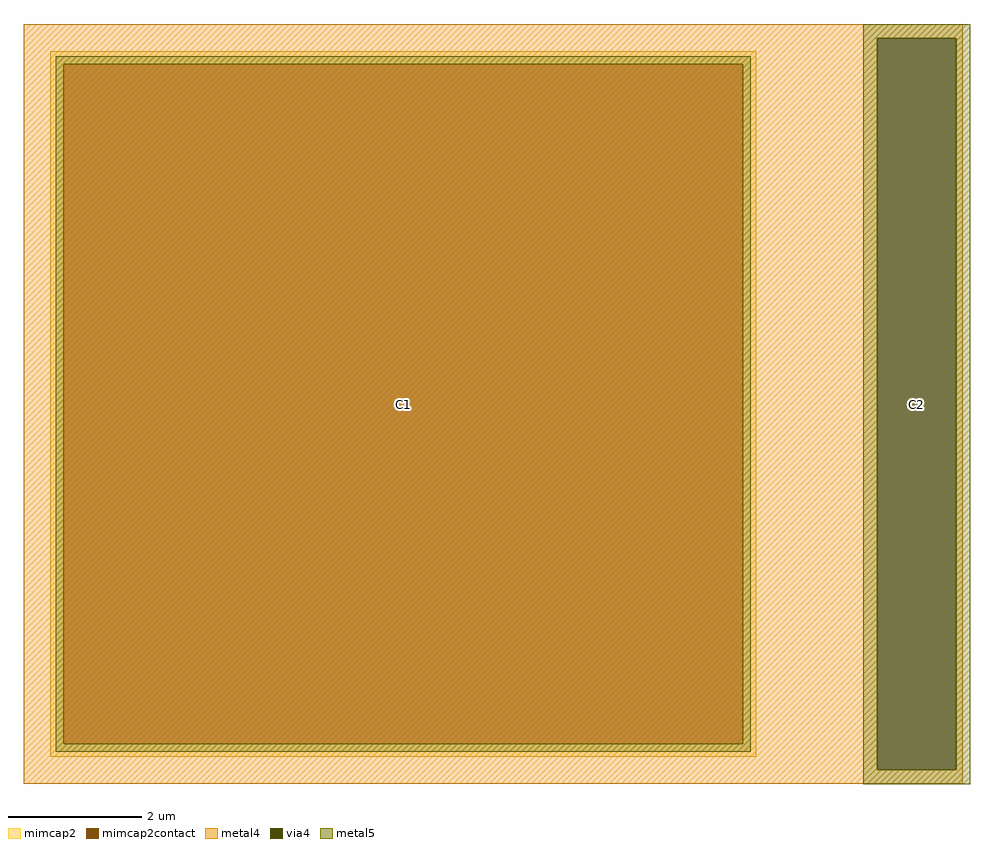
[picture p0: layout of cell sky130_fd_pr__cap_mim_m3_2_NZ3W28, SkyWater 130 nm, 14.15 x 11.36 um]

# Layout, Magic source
magic
tech sky130A
magscale 1 2
<< metal4 >>
rect -1404 1094 1404 1135
rect -1404 -1094 1148 1094
rect 1384 -1094 1404 1094
rect -1404 -1135 1404 -1094
<< via4 >>
rect 1148 -1094 1384 1094
<< mimcap2 >>
rect -1324 1015 786 1055
rect -1324 -1015 -1284 1015
rect 746 -1015 786 1015
rect -1324 -1055 786 -1015
<< mimcap2contact >>
rect -1284 -1015 746 1015
<< metal5 >>
rect 1106 1094 1426 1136
rect -1308 1015 770 1039
rect -1308 -1015 -1284 1015
rect 746 -1015 770 1015
rect -1308 -1039 770 -1015
rect 1106 -1094 1148 1094
rect 1384 -1094 1426 1094
rect 1106 -1136 1426 -1094
<< labels >>
rlabel via4 1266 0 1266 0 0 C2
port 1 nsew
rlabel mimcap2contact -269 0 -269 0 0 C1
port 2 nsew
<< properties >>
string FIXED_BBOX -1404 -1135 866 1135
string gencell sky130_fd_pr__cap_mim_m3_2
string library sky130
string parameters w 10.55 l 10.55 val 230.623 carea 2.00 cperi 0.19 class capacitor nx 1 ny 1 dummy 0 square 0 lmin 2.00 wmin 2.00 lmax 30.0 wmax 30.0 dc 0 bconnect 1 tconnect 1 ccov 100 doports 1
<< end >>
